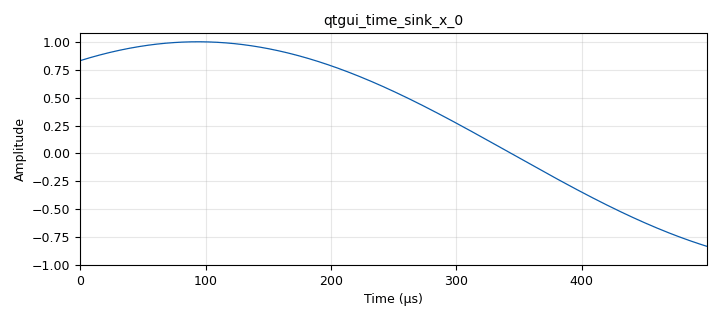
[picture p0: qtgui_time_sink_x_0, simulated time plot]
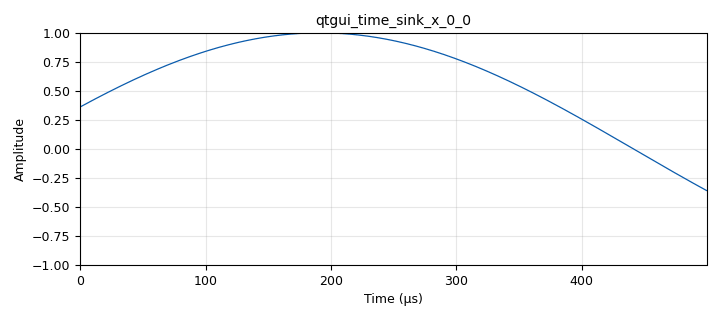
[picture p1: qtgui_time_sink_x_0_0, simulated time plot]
<?xml version='1.0' encoding='utf-8'?>
<?grc format='1' created='3.7.10'?>
<flow_graph>
<block>
<key>options</key>
<param><key>id</key><value>top_block</value></param>
<param><key>generate_options</key><value>qt_gui</value></param>
</block>
<block>
<key>variable_function_probe</key>
<param><key>id</key><value>drift</value></param>
<param><key>block_id</key><value>probe1</value></param>
<param><key>function_name</key><value>level</value></param>
<param><key>value</key><value>0</value></param>
<param><key>poll_rate</key><value>2</value></param>
</block>
<block>
<key>variable</key>
<param><key>id</key><value>pi</value></param>
<param><key>value</key><value>3.1415926535</value></param>
</block>
<block>
<key>variable</key>
<param><key>id</key><value>samp_rate</value></param>
<param><key>value</key><value>2048000</value></param>
</block>
<block>
<key>variable</key>
<param><key>id</key><value>vector_size</value></param>
<param><key>value</key><value>2**10</value></param>
</block>
<block>
<key>analog_noise_source_x</key>
<param><key>id</key><value>analog_noise_source_x_0</value></param>
<param><key>amp</key><value>0</value></param>
<param><key>noise_type</key><value>analog.GR_GAUSSIAN</value></param>
<param><key>type</key><value>complex</value></param>
<param><key>seed</key><value>0</value></param>
</block>
<block>
<key>analog_noise_source_x</key>
<param><key>id</key><value>analog_noise_source_x_0_0</value></param>
<param><key>amp</key><value>0</value></param>
<param><key>noise_type</key><value>analog.GR_GAUSSIAN</value></param>
<param><key>type</key><value>complex</value></param>
<param><key>seed</key><value>0</value></param>
</block>
<block>
<key>analog_sig_source_x</key>
<param><key>id</key><value>analog_sig_source_x_0</value></param>
<param><key>amp</key><value>1</value></param>
<param><key>freq</key><value>1000</value></param>
<param><key>offset</key><value>0</value></param>
<param><key>type</key><value>complex</value></param>
<param><key>samp_rate</key><value>samp_rate</value></param>
<param><key>waveform</key><value>analog.GR_COS_WAVE</value></param>
</block>
<block>
<key>analog_sig_source_x</key>
<param><key>id</key><value>analog_sig_source_x_0_0</value></param>
<param><key>amp</key><value>1</value></param>
<param><key>freq</key><value>999</value></param>
<param><key>offset</key><value>0</value></param>
<param><key>type</key><value>complex</value></param>
<param><key>samp_rate</key><value>samp_rate</value></param>
<param><key>waveform</key><value>analog.GR_COS_WAVE</value></param>
</block>
<block>
<key>blocks_add_xx</key>
<param><key>id</key><value>blocks_add_xx_0</value></param>
<param><key>type</key><value>complex</value></param>
</block>
<block>
<key>blocks_add_xx</key>
<param><key>id</key><value>blocks_add_xx_0_0</value></param>
<param><key>type</key><value>complex</value></param>
</block>
<block>
<key>blocks_complex_to_imag</key>
<param><key>id</key><value>blocks_complex_to_imag_0</value></param>
</block>
<block>
<key>blocks_complex_to_imag</key>
<param><key>id</key><value>blocks_complex_to_imag_0_0</value></param>
</block>
<block>
<key>blocks_stream_to_vector</key>
<param><key>id</key><value>blocks_stream_to_vector_0</value></param>
<param><key>type</key><value>complex</value></param>
<param><key>num_items</key><value>vector_size</value></param>
</block>
<block>
<key>blocks_stream_to_vector</key>
<param><key>id</key><value>blocks_stream_to_vector_0_0</value></param>
<param><key>type</key><value>complex</value></param>
<param><key>num_items</key><value>vector_size</value></param>
</block>
<block>
<key>blocks_stream_to_vector</key>
<param><key>id</key><value>blocks_stream_to_vector_0_1</value></param>
<param><key>type</key><value>float</value></param>
<param><key>num_items</key><value>vector_size/10</value></param>
</block>
<block>
<key>blocks_throttle</key>
<param><key>id</key><value>blocks_throttle_0</value></param>
<param><key>samples_per_second</key><value>samp_rate</value></param>
<param><key>type</key><value>float</value></param>
</block>
<block>
<key>doa_capon_ccf</key>
<param><key>id</key><value>doa_capon_ccf_0</value></param>
<param><key>vlen</key><value>vector_size</value></param>
</block>
<block>
<key>doa_cub_delay_cc</key>
<param><key>id</key><value>doa_cub_delay_cc_0</value></param>
<param><key>delay</key><value>0</value></param>
<param><key>_enabled</key><value>0</value></param>
<param><key>samp_rate</key><value>samp_rate</value></param>
</block>
<block>
<key>doa_lin_delay_cc</key>
<param><key>id</key><value>doa_lin_delay_cc_0</value></param>
<param><key>delay</key><value>0</value></param>
<param><key>samp_rate</key><value>samp_rate</value></param>
</block>
<block>
<key>doa_linearslope_ff</key>
<param><key>id</key><value>doa_linearslope_ff_0</value></param>
<param><key>vector_size</key><value>vector_size/10</value></param>
</block>
<block>
<key>doa_unwrap_ff</key>
<param><key>id</key><value>doa_unwrap_ff_0</value></param>
<param><key>max</key><value>3.14159</value></param>
<param><key>min</key><value>-3.14159</value></param>
<param><key>vector_size</key><value>vector_size/10</value></param>
</block>
<block>
<key>blocks_probe_signal_x</key>
<param><key>id</key><value>probe1</value></param>
<param><key>type</key><value>float</value></param>
</block>
<block>
<key>qtgui_number_sink</key>
<param><key>id</key><value>qtgui_number_sink_0</value></param>
<param><key>graph_type</key><value>qtgui.NUM_GRAPH_NONE</value></param>
<param><key>type</key><value>float</value></param>
</block>
<block>
<key>qtgui_time_sink_x</key>
<param><key>id</key><value>qtgui_time_sink_x_0</value></param>
<param><key>color1</key><value>"blue"</value></param>
<param><key>label1</key><value></value></param>
<param><key>size</key><value>1024</value></param>
<param><key>srate</key><value>samp_rate</value></param>
<param><key>type</key><value>float</value></param>
</block>
<block>
<key>qtgui_time_sink_x</key>
<param><key>id</key><value>qtgui_time_sink_x_0_0</value></param>
<param><key>color1</key><value>"blue"</value></param>
<param><key>label1</key><value></value></param>
<param><key>size</key><value>1024</value></param>
<param><key>srate</key><value>samp_rate</value></param>
<param><key>type</key><value>float</value></param>
</block>
<block>
<key>qtgui_vector_sink_f</key>
<param><key>id</key><value>qtgui_vector_sink_f_0</value></param>
<param><key>autoscale</key><value>True</value></param>
<param><key>showports</key><value>True</value></param>
<param><key>vlen</key><value>vector_size/10</value></param>
<param><key>x_start</key><value>0</value></param>
<param><key>x_step</key><value>1.0</value></param>
</block>
<block>
<key>blocks_multiply_const_vxx</key>
<param><key>id</key><value>to_rad_per_sec</value></param>
<param><key>const</key><value>samp_rate/float(vector_size)</value></param>
<param><key>type</key><value>float</value></param>
</block>
<block>
<key>blocks_multiply_const_vxx</key>
<param><key>id</key><value>to_samp_per_sec</value></param>
<param><key>const</key><value>samp_rate/(1000*2*pi)</value></param>
<param><key>type</key><value>float</value></param>
</block>
<connection><source_block_id>analog_noise_source_x_0</source_block_id><sink_block_id>blocks_add_xx_0</sink_block_id><source_key>0</source_key><sink_key>0</sink_key></connection>
<connection><source_block_id>analog_noise_source_x_0_0</source_block_id><sink_block_id>blocks_add_xx_0_0</sink_block_id><source_key>0</source_key><sink_key>1</sink_key></connection>
<connection><source_block_id>analog_sig_source_x_0</source_block_id><sink_block_id>blocks_add_xx_0</sink_block_id><source_key>0</source_key><sink_key>1</sink_key></connection>
<connection><source_block_id>analog_sig_source_x_0_0</source_block_id><sink_block_id>blocks_add_xx_0_0</sink_block_id><source_key>0</source_key><sink_key>0</sink_key></connection>
<connection><source_block_id>blocks_add_xx_0</source_block_id><sink_block_id>blocks_complex_to_imag_0</sink_block_id><source_key>0</source_key><sink_key>0</sink_key></connection>
<connection><source_block_id>blocks_add_xx_0</source_block_id><sink_block_id>doa_cub_delay_cc_0</sink_block_id><source_key>0</source_key><sink_key>0</sink_key></connection>
<connection><source_block_id>blocks_add_xx_0</source_block_id><sink_block_id>doa_lin_delay_cc_0</sink_block_id><source_key>0</source_key><sink_key>0</sink_key></connection>
<connection><source_block_id>blocks_add_xx_0_0</source_block_id><sink_block_id>blocks_complex_to_imag_0_0</sink_block_id><source_key>0</source_key><sink_key>0</sink_key></connection>
<connection><source_block_id>blocks_add_xx_0_0</source_block_id><sink_block_id>doa_cub_delay_cc_0</sink_block_id><source_key>0</source_key><sink_key>1</sink_key></connection>
<connection><source_block_id>blocks_add_xx_0_0</source_block_id><sink_block_id>doa_lin_delay_cc_0</sink_block_id><source_key>0</source_key><sink_key>1</sink_key></connection>
<connection><source_block_id>blocks_complex_to_imag_0</source_block_id><sink_block_id>qtgui_time_sink_x_0</sink_block_id><source_key>0</source_key><sink_key>0</sink_key></connection>
<connection><source_block_id>blocks_complex_to_imag_0_0</source_block_id><sink_block_id>qtgui_time_sink_x_0_0</sink_block_id><source_key>0</source_key><sink_key>0</sink_key></connection>
<connection><source_block_id>blocks_stream_to_vector_0</source_block_id><sink_block_id>doa_capon_ccf_0</sink_block_id><source_key>0</source_key><sink_key>0</sink_key></connection>
<connection><source_block_id>blocks_stream_to_vector_0_0</source_block_id><sink_block_id>doa_capon_ccf_0</sink_block_id><source_key>0</source_key><sink_key>1</sink_key></connection>
<connection><source_block_id>blocks_stream_to_vector_0_1</source_block_id><sink_block_id>doa_unwrap_ff_0</sink_block_id><source_key>0</source_key><sink_key>0</sink_key></connection>
<connection><source_block_id>blocks_throttle_0</source_block_id><sink_block_id>qtgui_number_sink_0</sink_block_id><source_key>0</source_key><sink_key>0</sink_key></connection>
<connection><source_block_id>doa_capon_ccf_0</source_block_id><sink_block_id>blocks_stream_to_vector_0_1</sink_block_id><source_key>0</source_key><sink_key>0</sink_key></connection>
<connection><source_block_id>doa_cub_delay_cc_0</source_block_id><sink_block_id>blocks_stream_to_vector_0_0</sink_block_id><source_key>1</source_key><sink_key>0</sink_key></connection>
<connection><source_block_id>doa_cub_delay_cc_0</source_block_id><sink_block_id>blocks_stream_to_vector_0</sink_block_id><source_key>0</source_key><sink_key>0</sink_key></connection>
<connection><source_block_id>doa_lin_delay_cc_0</source_block_id><sink_block_id>blocks_stream_to_vector_0_0</sink_block_id><source_key>1</source_key><sink_key>0</sink_key></connection>
<connection><source_block_id>doa_lin_delay_cc_0</source_block_id><sink_block_id>blocks_stream_to_vector_0</sink_block_id><source_key>0</source_key><sink_key>0</sink_key></connection>
<connection><source_block_id>doa_linearslope_ff_0</source_block_id><sink_block_id>to_rad_per_sec</sink_block_id><source_key>0</source_key><sink_key>0</sink_key></connection>
<connection><source_block_id>doa_unwrap_ff_0</source_block_id><sink_block_id>doa_linearslope_ff_0</sink_block_id><source_key>0</source_key><sink_key>0</sink_key></connection>
<connection><source_block_id>doa_unwrap_ff_0</source_block_id><sink_block_id>qtgui_vector_sink_f_0</sink_block_id><source_key>0</source_key><sink_key>0</sink_key></connection>
<connection><source_block_id>to_rad_per_sec</source_block_id><sink_block_id>to_samp_per_sec</sink_block_id><source_key>0</source_key><sink_key>0</sink_key></connection>
<connection><source_block_id>to_samp_per_sec</source_block_id><sink_block_id>blocks_throttle_0</sink_block_id><source_key>0</source_key><sink_key>0</sink_key></connection>
<connection><source_block_id>to_samp_per_sec</source_block_id><sink_block_id>probe1</sink_block_id><source_key>0</source_key><sink_key>0</sink_key></connection>
</flow_graph>
